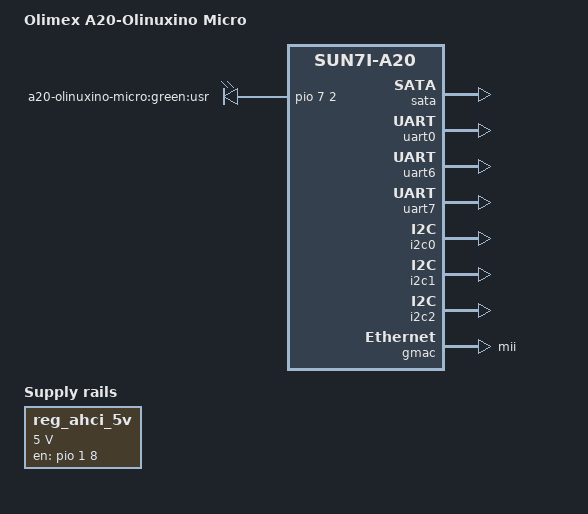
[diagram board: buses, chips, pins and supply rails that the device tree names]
/*
 * Copyright 2013 Maxime Ripard
 *
 * Maxime Ripard <maxime.ripard@free-electrons.com>
 *
 * The code contained herein is licensed under the GNU General Public
 * License. You may obtain a copy of the GNU General Public License
 * Version 2 or later at the following locations:
 *
 * http://www.opensource.org/licenses/gpl-license.html
 * http://www.gnu.org/copyleft/gpl.html
 */

/dts-v1/;
/include/ "sun7i-a20.dtsi"

/ {
	model = "Olimex A20-Olinuxino Micro";
	compatible = "olimex,a20-olinuxino-micro", "allwinner,sun7i-a20";

	soc@01c00000 {
		sata: ahci@01c18000 {
			pwr-supply = <&reg_ahci_5v>;
			status = "okay";
		};

		pinctrl@01c20800 {
			ahci_pwr_pin: ahci_pwr_pin@0 {
				allwinner,pins = "PB8";
				allwinner,function = "gpio_out";
				allwinner,drive = <0>;
				allwinner,pull = <0>;
			};

			led_pins_olinuxino: led_pins@0 {
				allwinner,pins = "PH2";
				allwinner,function = "gpio_out";
				allwinner,drive = <1>;
				allwinner,pull = <0>;
			};
		};

		uart0: serial@01c28000 {
			pinctrl-names = "default";
			pinctrl-0 = <&uart0_pins_a>;
			status = "okay";
		};

		uart6: serial@01c29800 {
			pinctrl-names = "default";
			pinctrl-0 = <&uart6_pins_a>;
			status = "okay";
		};

		uart7: serial@01c29c00 {
			pinctrl-names = "default";
			pinctrl-0 = <&uart7_pins_a>;
			status = "okay";
		};

		i2c0: i2c@01c2ac00 {
			pinctrl-names = "default";
			pinctrl-0 = <&i2c0_pins_a>;
			status = "okay";
		};

		i2c1: i2c@01c2b000 {
			pinctrl-names = "default";
			pinctrl-0 = <&i2c1_pins_a>;
			status = "okay";
		};

		i2c2: i2c@01c2b400 {
			pinctrl-names = "default";
			pinctrl-0 = <&i2c2_pins_a>;
			status = "okay";
		};

		gmac: ethernet@01c50000 {
			pinctrl-names = "default";
			pinctrl-0 = <&gmac_pins_a>;
			snps,phy-addr = <1>;
			phy-mode = "mii";
			status = "okay";
		};
	};

	leds {
		compatible = "gpio-leds";
		pinctrl-names = "default";
		pinctrl-0 = <&led_pins_olinuxino>;

		green {
			label = "a20-olinuxino-micro:green:usr";
			gpios = <&pio 7 2 0>;
			default-state = "on";
		};
	};

	regulators {
		compatible = "simple-bus";

		reg_ahci_5v: ahci-5v {
			compatible = "regulator-fixed";
			regulator-name = "ahci-5v";
			regulator-min-microvolt = <5000000>;
			regulator-max-microvolt = <5000000>;
			pinctrl-0 = <&ahci_pwr_pin>;
			gpio = <&pio 1 8 0>;
			enable-active-high;
		};
	};
};
